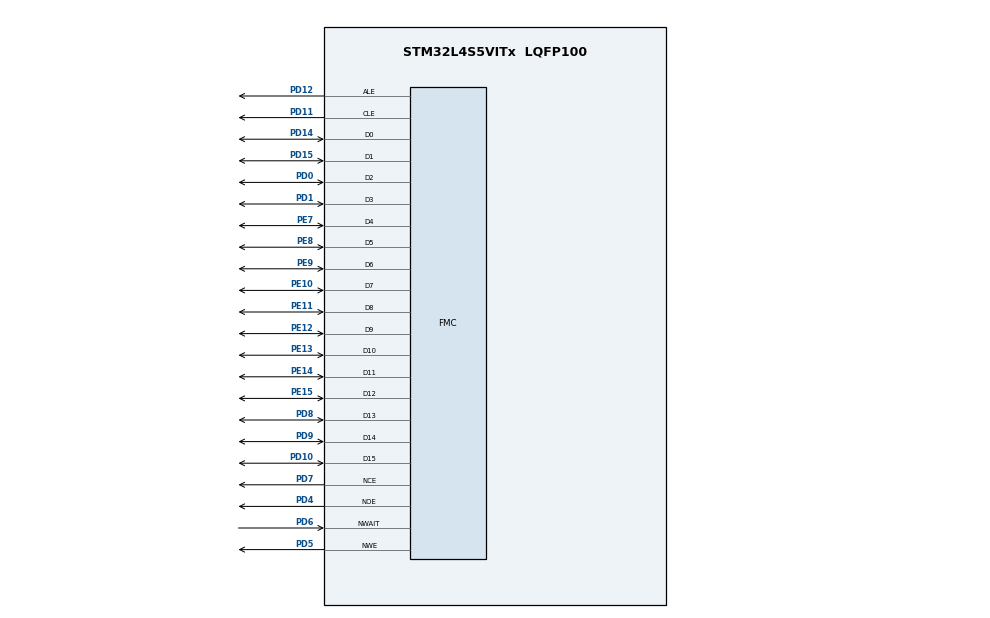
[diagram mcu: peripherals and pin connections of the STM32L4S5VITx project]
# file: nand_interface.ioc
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Mcu.Family=STM32L4
Mcu.Name=STM32L4S5VITx
Mcu.Package=LQFP100
NVIC.PriorityGroup=NVIC_PRIORITYGROUP_4
PD0.Mode=16b-dmux1
PD0.Signal=FMC_D2
PD1.Mode=16b-dmux1
PD1.Signal=FMC_D3
PD10.Mode=16b-dmux1
PD10.Signal=FMC_D15
PD11.Mode=16b-dmux1
PD11.Signal=FMC_CLE
PD12.Mode=16b-dmux1
PD12.Signal=FMC_ALE
PD14.Mode=16b-dmux1
PD14.Signal=FMC_D0
PD15.Mode=16b-dmux1
PD15.Signal=FMC_D1
PD4.Mode=16b-dmux1
PD4.Signal=FMC_NOE
PD5.Mode=16b-dmux1
PD5.Signal=FMC_NWE
PD6.Mode=Wait1
PD6.Signal=FMC_NWAIT
PD7.Mode=NandChipSelect3_1
PD7.Signal=FMC_NCE
PD8.Mode=16b-dmux1
PD8.Signal=FMC_D13
PD9.Mode=16b-dmux1
PD9.Signal=FMC_D14
PE10.Mode=16b-dmux1
PE10.Signal=FMC_D7
PE11.Mode=16b-dmux1
PE11.Signal=FMC_D8
PE12.Mode=16b-dmux1
PE12.Signal=FMC_D9
PE13.Mode=16b-dmux1
PE13.Signal=FMC_D10
PE14.Mode=16b-dmux1
PE14.Signal=FMC_D11
PE15.Mode=16b-dmux1
PE15.Signal=FMC_D12
PE7.Mode=16b-dmux1
PE7.Signal=FMC_D4
PE8.Mode=16b-dmux1
PE8.Signal=FMC_D5
PE9.Mode=16b-dmux1
PE9.Signal=FMC_D6
ProjectManager.HeapSize=0x200
ProjectManager.StackSize=0x400
ProjectManager.TargetToolchain=STM32CubeIDE
RCC.HSE_VALUE=8000000
RCC.HSI48_VALUE=48000000
RCC.HSI_VALUE=16000000
RCC.LSE_VALUE=32768
RCC.MSI_VALUE=4000000
RCC.VCOOutputFreq_Value=32000000
board=custom

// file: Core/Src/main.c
/* USER CODE BEGIN Header */
/**
  ******************************************************************************
  * @file           : main.c
  * @brief          : Main program body
  ******************************************************************************
  */
/* USER CODE END Header */

#include "main.h"

/* USER CODE BEGIN Includes */
#include <string.h> // For memset
/* USER CODE END Includes */

/* USER CODE BEGIN PD */
#define NAND_PAGE_SIZE         4224 // 4096 + 128 spare
#define NAND_BLOCK_SIZE        (NAND_PAGE_SIZE * 64) // 64 pages per block
#define NAND_TOTAL_BLOCKS      4096
#define NAND_COMMAND_ADDRESS   ((uint32_t)0x80000000) // FMC Command address
#define NAND_DATA_ADDRESS      ((uint32_t)0x80001000) // FMC Data address
#define CLE                    0x00008000
#define ALE                    0x00004000
/* USER CODE END PD */

NAND_HandleTypeDef hnand1;

/* USER CODE BEGIN PV */
uint8_t write_data[NAND_PAGE_SIZE];
uint8_t read_data[NAND_PAGE_SIZE];
/* USER CODE END PV */

void SystemClock_Config(void);
static void MX_GPIO_Init(void);
static void MX_FMC_Init(void);
void NAND_SendCommand(uint8_t command);
void NAND_SendAddress(uint8_t address);
void NAND_WriteData(uint8_t *data, uint32_t length);
void NAND_ReadData(uint8_t *data, uint32_t length);
void NAND_WritePage(uint8_t *data, uint32_t page_address);
void NAND_ReadPage(uint8_t *data, uint32_t page_address);

int main(void)
{

  /* MCU Configuration--------------------------------------------------------*/

  /* Reset of all peripherals, Initializes the Flash interface and the Systick. */
  HAL_Init();

  /* Configure the system clock */
  SystemClock_Config();

  /* Initialize all configured peripherals */
  MX_GPIO_Init();
  MX_FMC_Init();

  /* USER CODE BEGIN 2 */
  // Initialize test data
  memset(write_data, 0xAA, NAND_PAGE_SIZE); // Fill with pattern 0xAA
  memset(read_data, 0x00, NAND_PAGE_SIZE);  // Clear read buffer

  // Write data to page 0
  NAND_WritePage(write_data, 0);

  // Read data back from page 0
  NAND_ReadPage(read_data, 0);

  // Verify data
  if (memcmp(write_data, read_data, NAND_PAGE_SIZE) == 0)
  {
    // Data matched, indicate success (e.g., LED ON)
  }
  else
  {
    // Data mismatch, indicate failure (e.g., LED OFF or Error Handler)
  }
  /* USER CODE END 2 */

  /* Infinite loop */
  while (1)
  {

  }
}

void SystemClock_Config(void)
{
  // Clock configuration as per your setup
}

/* FMC initialization function */
static void MX_FMC_Init(void)
{
  FMC_NAND_PCC_TimingTypeDef ComSpaceTiming = {0};
  FMC_NAND_PCC_TimingTypeDef AttSpaceTiming = {0};

  hnand1.Instance = FMC_NAND_DEVICE;
  hnand1.Init.NandBank = FMC_NAND_BANK3;
  hnand1.Init.Waitfeature = FMC_NAND_WAIT_FEATURE_ENABLE;
  hnand1.Init.MemoryDataWidth = FMC_NAND_MEM_BUS_WIDTH_8;
  hnand1.Init.EccComputation = FMC_NAND_ECC_ENABLE;
  hnand1.Init.ECCPageSize = FMC_NAND_ECC_PAGE_SIZE_512BYTE;
  hnand1.Init.TCLRSetupTime = 1;
  hnand1.Init.TARSetupTime = 1;

  hnand1.Config.PageSize = NAND_PAGE_SIZE;
  hnand1.Config.SpareAreaSize = 128;
  hnand1.Config.BlockSize = 64;
  hnand1.Config.BlockNbr = NAND_TOTAL_BLOCKS;
  hnand1.Config.PlaneNbr = 1;
  hnand1.Config.PlaneSize = 4096;
  hnand1.Config.ExtraCommandEnable = DISABLE;

  ComSpaceTiming.SetupTime = 12;
  ComSpaceTiming.WaitSetupTime = 20;
  ComSpaceTiming.HoldSetupTime = 10;
  ComSpaceTiming.HiZSetupTime = 10;

  AttSpaceTiming = ComSpaceTiming;

  if (HAL_NAND_Init(&hnand1, &ComSpaceTiming, &AttSpaceTiming) != HAL_OK)
  {
    Error_Handler();
  }
}

/* GPIO initialization function */
static void MX_GPIO_Init(void)
{
  __HAL_RCC_GPIOE_CLK_ENABLE();
  __HAL_RCC_GPIOD_CLK_ENABLE();
}

/* NAND command and data handling functions */
void NAND_SendCommand(uint8_t command)
{
  *(__IO uint8_t *)(NAND_COMMAND_ADDRESS | CLE) = command;
}

void NAND_SendAddress(uint8_t address)
{
  *(__IO uint8_t *)(NAND_COMMAND_ADDRESS | ALE) = address;
}

void NAND_WriteData(uint8_t *data, uint32_t length)
{
  for (uint32_t i = 0; i < length; i++)
  {
    *(__IO uint8_t *)NAND_DATA_ADDRESS = data[i];
  }
}

void NAND_ReadData(uint8_t *data, uint32_t length)
{
  for (uint32_t i = 0; i < length; i++)
  {
    data[i] = *(__IO uint8_t *)NAND_DATA_ADDRESS;
  }
}

void NAND_WritePage(uint8_t *data, uint32_t page_address)
{
  NAND_SendCommand(0x80); // Program page command
  NAND_SendAddress(page_address & 0xFF);
  NAND_SendAddress((page_address >> 8) & 0xFF);
  NAND_SendAddress((page_address >> 16) & 0xFF);
  NAND_WriteData(data, NAND_PAGE_SIZE);
  NAND_SendCommand(0x10); // Program confirm
  HAL_Delay(1); // Wait for programming to complete
}

void NAND_ReadPage(uint8_t *data, uint32_t page_address)
{
  NAND_SendCommand(0x00); // Read command
  NAND_SendAddress(page_address & 0xFF);
  NAND_SendAddress((page_address >> 8) & 0xFF);
  NAND_SendAddress((page_address >> 16) & 0xFF);
  NAND_SendCommand(0x30); // Read confirm
  HAL_Delay(1); // Wait for data to be ready
  NAND_ReadData(data, NAND_PAGE_SIZE);
}

/**
  * @brief Error Handler
  */
void Error_Handler(void)
{
  while (1)
  {
    // Stay here to debug
  }
}
